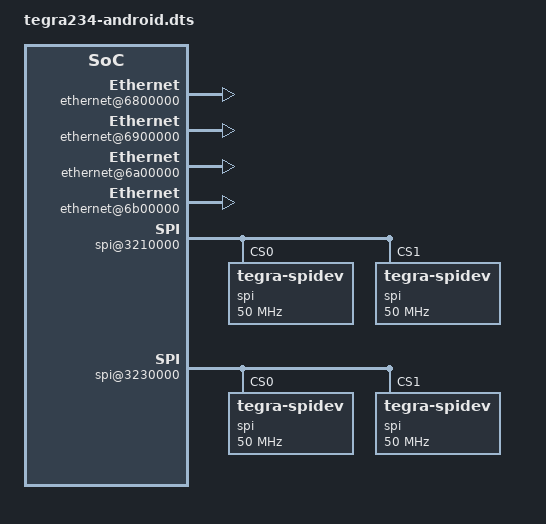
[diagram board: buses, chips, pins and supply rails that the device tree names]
// SPDX-License-Identifier: GPL-2.0-only
// SPDX-FileCopyrightText: Copyright (c) 2022-2024, NVIDIA CORPORATION & AFFILIATES.  All rights reserved.
//
// This file contains the DT nodes of T234 which are not in base/tegra234.dtsi

/dts-v1/;
/plugin/;

#include <dt-bindings/tegra234-android-bootargs.h>

/ {
	fragment-t234-android@0 {
		target-path = "/";
		 __overlay__ {
			firmware {
				android {
					compatible = "android,firmware";
					first_stage_delay = "1";
				};
				optee {
					compatible = "linaro,optee-tz";
					method = "smc";
					status = "okay";
				};
				uefi {
					use-partition-name-suffixes;
				};
			};

			chosen {
				use_dts_cmdline;
				bootargs   = ANDROID_BOOTARGS;
				bootconfig = ANDROID_BOOTCONFIG;
				/* Test key hash, will got overriden on signing server */
				avb_key0_sha1 = <0x2597c218 0xaae470a1 0x30f61162 0xfeaae70a 0xfd97f011>;
				/* RSA2K = 520, RSA4K = 1032, RSA8K = 2056 */
				avb_key0_size = <1032>;
			};

			bus@0 {
				ethernet@6800000 {
					status = "okay";
				};

				ethernet@6900000 {
					status = "okay";
				};

				ethernet@6a00000 {
					status = "okay";
				};

				ethernet@6b00000 {
					status = "okay";
				};

				/* SPI1, 40pin header, Pin 19(MOSIsdd, Pin 21(MISO), Pin 23(CLK), Pin 24(CS) */
				spi@3210000 {
					status = "okay";
					spi@0 {
						compatible = "tegra-spidev";
						reg = <0x0>;
						spi-max-frequency = <50000000>;
						controller-data {
							nvidia,enable-hw-based-cs;
							nvidia,rx-clk-tap-delay = <0x10>;
							nvidia,tx-clk-tap-delay = <0x0>;
						};
					};
					spi@1 {
						compatible = "tegra-spidev";
						reg = <0x1>;
						spi-max-frequency = <50000000>;
						controller-data {
							nvidia,enable-hw-based-cs;
							nvidia,rx-clk-tap-delay = <0x10>;
							nvidia,tx-clk-tap-delay = <0x0>;
						};
					};

				};

				/* SPI3, 40pin header, Pin 37(MOSI), Pin 22(MISO), Pin 13(CLK), Pin 18(CS) */
				spi@3230000 {
					status = "okay";
					spi@0 {
						compatible = "tegra-spidev";
						reg = <0x0>;
						spi-max-frequency = <50000000>;
						controller-data {
							nvidia,enable-hw-based-cs;
							nvidia,rx-clk-tap-delay = <0x10>;
							nvidia,tx-clk-tap-delay = <0x0>;
						};
					};
					spi@1 {
						compatible = "tegra-spidev";
						reg = <0x1>;
						spi-max-frequency = <50000000>;
						controller-data {
							nvidia,enable-hw-based-cs;
							nvidia,rx-clk-tap-delay = <0x10>;
							nvidia,tx-clk-tap-delay = <0x0>;
						};
					};
				};

				serial@3100000 {
					dma-coherent;
					dmas = <&gpcdma 8>, <&gpcdma 8>;
					dma-names = "rx", "tx";
				};

				serial@3110000 {
					dma-coherent;
					dmas = <&gpcdma 8>, <&gpcdma 8>;
					dma-names = "rx", "tx";
				};

				serial@3140000 {
					dma-coherent;
					dmas = <&gpcdma 8>, <&gpcdma 8>;
					dma-names = "rx", "tx";
				};
				host1x@13e00000 {
					crypto@15810000 {
						status = "disabled";
					};

					crypto@15820000 {
						status = "disabled";
					};

					crypto@15840000 {
						status = "disabled";
					};
				};
			};

			display@13800000 {
				hdcp_enabled;
				status = "okay";
			};
		};
	};

	fragment-t234-android@1 {
		target-path = "/bus@0/mmc@3400000";
		delete_prop = "sd-uhs-ddr50";
	};
};
